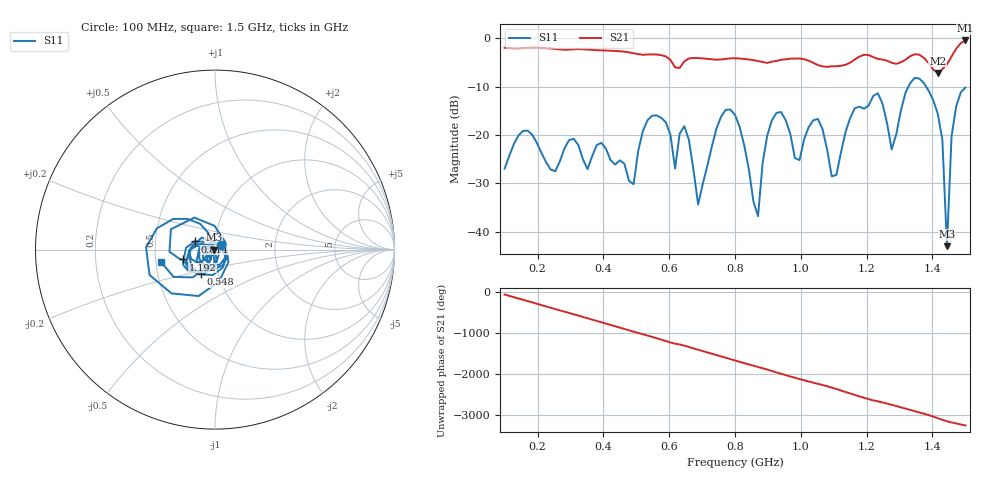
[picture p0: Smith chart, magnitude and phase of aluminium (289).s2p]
! NanoVNA-App
! Date: 2025-09-25 14:57:32
! Start: 100MHz Stop: 1,5GHz Points: 101
! S-Parameter data: F S11 S21 S12 S22
# Hz S RI R 50
!  Frequency  S11_Real  S11_Imag  S21_Real  S21_Imag  S12_Real  S12_Imag  S22_Real  S22_Imag
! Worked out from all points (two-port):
!   101 points, 100 MHz to 1.5 GHz, reference 50 ohm
!   highest |S21| = -0.41 dB at 1.5 GHz (marker M1); lowest = -7.1 dB at 1.416 GHz (marker M2)
!   |S21| within 3 dB of the highest: start of sweep to 570.7 MHz; 1.461 GHz to end of sweep (the widest 2 of 4)
!   lowest |S11| = -43.0 dB at 1.444 GHz (marker M3), VSWR 1.01, Z = 49.3 - j0.00981 ohm
!   |S11| at or under -10 dB: start of sweep to 1.327 GHz; 1.381 GHz to end of sweep
!   S12 and S22 are empty: the file has one direction only
!   S11 on the Smith chart (normalised r, x): 100 MHz: 1.07, +0.06; 548 MHz: 0.82, -0.23; 814 MHz: 0.79, +0.07; 1.192 GHz: 0.69, -0.08; 1.5 GHz: 0.53, -0.08
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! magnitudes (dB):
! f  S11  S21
! 100 MHz  -27.0  -1.9
! 338 MHz  -25.0  -2.2
! 492 MHz  -30.2  -3.1
! 548 MHz  -16.0  -3.3
! 576 MHz  -16.4  -3.5
! 618 MHz  -26.9  -6.0
! 646 MHz  -18.2  -4.7
! 688 MHz  -34.4  -4.1
! 800 MHz  -15.8  -4.1
! 814 MHz  -18.3  -4.1
! 870 MHz  -36.8  -4.7
! 912 MHz  -17.0  -4.8
! 1.038 GHz  -16.9  -5.0
! 1.094 GHz  -28.6  -5.8
! 1.192 GHz  -14.5  -3.4
! 1.276 GHz  -23.0  -5.0
! 1.346 GHz  -8.2  -3.3
! 1.416 GHz  -15.6  -7.1
! 1.43 GHz  -20.9  -6.4
! 1.444 GHz  -43.0  -5.4
! 1.458 GHz  -20.2  -3.7
! 1.5 GHz  -10.2  -0.4
